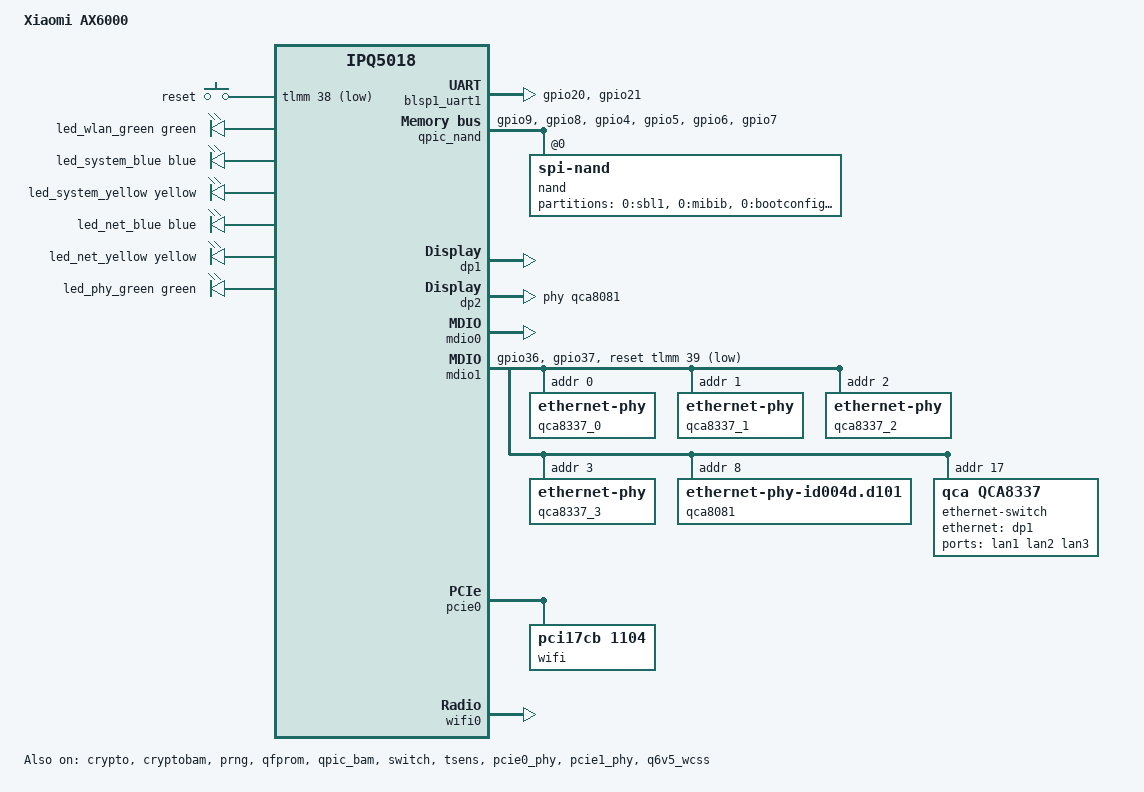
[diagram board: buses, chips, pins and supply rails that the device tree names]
/dts-v1/;

#include "ipq5018.dtsi"
#include "ipq5018-ess.dtsi"

#include <dt-bindings/gpio/gpio.h>
#include <dt-bindings/input/input.h>
#include <dt-bindings/leds/common.h>

/ {
	model = "Xiaomi AX6000";
	compatible = "xiaomi,ax6000", "qcom,ipq5018";

	aliases {
		label-mac-device = &dp1;
		led-boot = &led_system_blue;
		led-failsafe = &led_system_yellow;
		led-running = &led_system_blue;
		led-upgrade = &led_system_yellow;
		serial0 = &blsp1_uart1;
	};

	chosen {
		/* Xiaomi's U-boot sets bootargs to:
		 * ubi.mtd=rootfs_1 root=mtd:ubi_rootfs rootfstype=squashfs rootwait uart_en=1
		 * so we need to override and set ubi.mtd=rootfs
		 */
		bootargs-append = " ubi.mtd=rootfs root=/dev/ubiblock0_0 coherent_pool=2M";
		stdout-path = "serial0:115200n8";
	};

	keys {
		compatible = "gpio-keys";

		pinctrl-0 = <&button_pins>;
		pinctrl-names = "default";

		reset-button {
			label = "reset";
			gpios = <&tlmm 38 GPIO_ACTIVE_LOW>;
			linux,code = <KEY_RESTART>;
		};
	};

	leds {
		compatible = "gpio-leds";

		pinctrl-0 = <&leds_pins>;
		pinctrl-names = "default";

		led_wlan_green: wlan-green {
			color = <LED_COLOR_ID_GREEN>;
			function = LED_FUNCTION_WLAN;
			gpio = <&tlmm 23 GPIO_ACTIVE_HIGH>;
		};

		led_system_blue: system-blue {
			color = <LED_COLOR_ID_BLUE>;
			function = LED_FUNCTION_POWER;
			gpio = <&tlmm 24 GPIO_ACTIVE_HIGH>;
		};

		led_system_yellow: system-yellow {
			color = <LED_COLOR_ID_YELLOW>;
			function = LED_FUNCTION_POWER;
			gpio = <&tlmm 25 GPIO_ACTIVE_HIGH>;
		};

		led_net_blue: net-blue {
			color = <LED_COLOR_ID_BLUE>;
			function = LED_FUNCTION_WAN_ONLINE;
			gpio = <&tlmm 26 GPIO_ACTIVE_HIGH>;
		};

		led_net_yellow: net-yellow {
			color = <LED_COLOR_ID_YELLOW>;
			function = LED_FUNCTION_WAN;
			gpio = <&tlmm 27 GPIO_ACTIVE_HIGH>;
		};

		led_phy_green: phy-green {
			color = <LED_COLOR_ID_GREEN>;
			function = LED_FUNCTION_LAN;
			gpio = <&tlmm 28 GPIO_ACTIVE_HIGH>;
		};
	};

	reserved-memory {
		q6_mem_regions: q6_mem_regions@4b000000 {
			no-map;
			reg = <0x0 0x4b000000 0x0 0x3000000>;
		};
	};
};

&sleep_clk {
	clock-frequency = <32000>;
};

&xo_board_clk {
	clock-frequency = <24000000>;
};

&blsp1_uart1 {
	status = "okay";

	pinctrl-0 = <&serial_0_pins>;
	pinctrl-names = "default";
};

&crypto {
	status = "okay";
};

&cryptobam {
	status = "okay";
};

&prng {
	status = "okay";
};

&qfprom {
	status = "okay";
};

&qpic_bam {
	status = "okay";
};

&qpic_nand {
	pinctrl-0 = <&qpic_pins>;
	pinctrl-names = "default";
	status = "okay";

	nand@0 {
		compatible = "spi-nand";
		reg = <0>;
		#address-cells = <1>;
		#size-cells = <1>;

		nand-ecc-engine = <&qpic_nand>;
		nand-bus-width = <8>;

		partitions {
			compatible = "fixed-partitions";
			#address-cells = <1>;
			#size-cells = <1>;

			partition@0 {
				label = "0:sbl1";
				reg = <0x00000000 0x80000>;
				read-only;
			};

			partition@80000 {
				label = "0:mibib";
				reg = <0x00080000 0x80000>;
				read-only;
			};

			partition@100000 {
				label = "0:bootconfig";
				reg = <0x00100000 0x40000>;
				read-only;
			};

			partition@140000 {
				label = "0:bootconfig1";
				reg = <0x00140000 0x40000>;
				read-only;
			};

			partition@180000 {
				label = "0:qsee";
				reg = <0x00180000 0x100000>;
				read-only;
			};

			partition@280000 {
				label = "0:qsee_1";
				reg = <0x00280000 0x100000>;
				read-only;
			};

			partition@380000 {
				label = "0:devcfg";
				reg = <0x00380000 0x40000>;
				read-only;
			};

			partition@3c0000 {
				label = "0:devcfg_1";
				reg = <0x003c0000 0x40000>;
				read-only;
			};

			partition@400000 {
				label = "0:cdt";
				reg = <0x00400000 0x40000>;
				read-only;
			};

			partition@440000 {
				label = "0:cdt_1`";
				reg = <0x00440000 0x40000>;
				read-only;
			};

			partition@480000 {
				label = "0:appsblenv";
				reg = <0x00480000 0x80000>;
			};

			partition@500000 {
				label = "0:appsbl";
				reg = <0x00500000 0x140000>;
				read-only;
			};

			partition@640000 {
				label = "0:appsbl_1";
				reg = <0x00640000 0x140000>;
				read-only;
			};

			partition@780000 {
				label = "0:art";
				reg = <0x00780000 0x100000>;
				read-only;

				nvmem-layout {
					compatible = "fixed-layout";
					#address-cells = <1>;
					#size-cells = <1>;

					mac_addr_dp1: macaddr@0 {
						reg = <0x0 0x6>;
					};

					mac_addr_dp2: macaddr@6 {
						reg = <0x6 0x6>;
					};

					caldata_qca9889: caldata@4d000 {
						reg = <0x4d000 0x844>;
					};
				};
			};

			partition@880000 {
				label = "0:training";
				reg = <0x00880000 0x80000>;
				read-only;
			};

			partition@900000 {
				label = "bdata";
				reg = <0x00900000 0x80000>;
			};

			partition@980000 {
				label = "crash";
				reg = <0x00980000 0x80000>;
			};

			partition@a00000 {
				label = "crash_syslog";
				reg = <0x00a00000 0x80000>;
			};

			partition@a80000 {
				label = "ubi_kernel";
				reg = <0x00a80000 0x2400000>;
			};

			partition@2e80000 {
				label = "rootfs";
				reg = <0x02e80000 0x5180000>;
			};
		};
	};
};

/*
* =================================================================
*     _______________________             _______________________
*    |        IPQ5018        |           |        QCA8337        |
*    | +------+   +--------+ |           | +--------+   +------+ |
*    | | MAC0 |---| GE Phy |-+--- MDI ---+ | Phy3   |---| MAC4 | |
*    | +------+   +--------+ |           | +--------+   +------+ |
*    |                       |           |_______________________|
*    |                       |            _______________________
*    |                       |           |        QCA8081        |
*    | +------+   +--------+ |           | +-------------------+ |
*    | | MAC1 |---| Uniphy |-+-- SGMII+--+ |        Phy        | |
*    | +------+   +--------+ |           | +-------------------+ |
*    |_______________________|           |_______________________|
*
* =================================================================
*/

&switch {
	status = "okay";

	switch_mac_mode = <MAC_MODE_SGMII_CHANNEL0>;

	qcom,port_phyinfo {
		// MAC0 -> GE Phy --- MDI --- QCA8337 Switch
		port@0 {
			port_id = <1>;
			mdiobus = <&mdio0>;
			phy_address = <7>;
			phy_dac = <0x10 0x10>;
		};

		// MAC1 -> Uniphy --- SGMII --- QCA8081
		port@1 {
			port_id = <2>;
			mdiobus = <&mdio1>;
			phy_address = <8>;
			port_mac_sel = "QGMAC_PORT";
		};
	};
};

// MAC0 -> GE Phy
&dp1 {
	status = "okay";

	nvmem-cells = <&mac_addr_dp1 0>;
	nvmem-cell-names = "mac-address";
};

// MAC1 ---SGMII---> QCA8081
&dp2 {
	status = "okay";

	label = "wan";
	phy-handle = <&qca8081>;
	nvmem-cells = <&mac_addr_dp2 0>;
	nvmem-cell-names = "mac-address";
};

&mdio0 {
	status = "okay";
};

// IPQ5018 GE Phy -> QCA8337 PHY0
&ge_phy {
	qcom,dac-preset-short-cable;
};

&mdio1 {
	status = "okay";

	pinctrl-0 = <&mdio1_pins>;
	pinctrl-names = "default";
	reset-gpios = <&tlmm 39 GPIO_ACTIVE_LOW>;

	// QCA8337 Phy0 -> LAN1
	qca8337_0: ethernet-phy@0 {
		reg = <0>;
	};

	// QCA8337 Phy1 -> LAN2
	qca8337_1: ethernet-phy@1 {
		reg = <1>;
	};

	// QCA8337 Phy2 -> LAN3
	qca8337_2: ethernet-phy@2 {
		reg = <2>;
	};

	// QCA8337 Phy3 -> IPQ5018 GE Phy
	qca8337_3: ethernet-phy@3 {
		reg = <3>;
	};

	// QCA8081 Phy -> WAN
	qca8081: ethernet-phy@8 {
		compatible = "ethernet-phy-id004d.d101";
		reg = <8>;

		leds {
			#address-cells = <1>;
			#size-cells = <0>;

			led@0 {
				reg = <0>;
				color = <LED_COLOR_ID_GREEN>;
				function = LED_FUNCTION_WAN;
				default-state = "keep";
			};
		};
	};

	// QCA8337 switch
	ethernet-switch@11 {
		compatible = "qca,qca8337";
		reg = <17>;

		ports {
			port@1 {
				reg = <1>;
				label = "lan1";
				phy-handle = <&qca8337_0>;

				leds {
					#address-cells = <1>;
					#size-cells = <0>;

					led@0 {
						reg = <0>;
						color = <LED_COLOR_ID_GREEN>;
						function = LED_FUNCTION_LAN;
						default-state = "keep";
					};
				};
			};

			port@2 {
				reg = <2>;
				label = "lan2";
				phy-handle = <&qca8337_1>;

				leds {
					#address-cells = <1>;
					#size-cells = <0>;

					led@0 {
						reg = <0>;
						color = <LED_COLOR_ID_GREEN>;
						function = LED_FUNCTION_LAN;
						default-state = "keep";
					};
				};
			};

			port@3 {
				reg = <3>;
				label = "lan3";
				phy-handle = <&qca8337_2>;

				leds {
					#address-cells = <1>;
					#size-cells = <0>;

					led@0 {
						reg = <0>;
						color = <LED_COLOR_ID_GREEN>;
						function = LED_FUNCTION_LAN;
						default-state = "keep";
					};
				};
			};

			port@4 {
				reg = <4>;
				phy-handle = <&qca8337_3>;
				phy-mode = "gmii";
				ethernet = <&dp1>;
			};
		};
	};
};

&tlmm {
	button_pins: button-state {
		pins = "gpio38";
		function = "gpio";
		drive-strength = <8>;
		bias-pull-up;
	};

	leds_pins: leds-state {
		pins = "gpio23", "gpio24", "gpio25",
		       "gpio26", "gpio27", "gpio28";
		function = "gpio";
		drive-strength = <8>;
		bias-pull-down;
	};

	mdio1_pins: mdio-state {
		mdc-pins {
			pins = "gpio36";
			function = "mdc";
			drive-strength = <8>;
			bias-pull-up;
		};

		mdio-pins {
			pins = "gpio37";
			function = "mdio";
			drive-strength = <8>;
			bias-pull-up;
		};
	};

	qpic_pins: qpic-state {
		clock-pins {
			pins = "gpio9";
			function = "qspi_clk";
			drive-strength = <8>;
			bias-disable;
		};

		cs-pins {
			pins = "gpio8";
			function = "qspi_cs";
			drive-strength = <8>;
			bias-disable;
		};

		data-pins {
			pins = "gpio4", "gpio5", "gpio6", "gpio7";
			function = "qspi_data";
			drive-strength = <8>;
			bias-disable;
		};
	};

	serial_0_pins: uart0-state {
		pins = "gpio20", "gpio21";
		function = "blsp0_uart0";
		bias-disable;
	};
};

&tsens {
	status = "okay";
};

&pcie0_phy {
	status = "okay";
};

&pcie0 {
	status = "okay";

	perst-gpios = <&tlmm 15 GPIO_ACTIVE_LOW>;

	pcie@0 {
		wifi@0,0 {
			status = "okay";

			/* QCN9074: ath11k lacks DT compatible for PCI cards */
			compatible = "pci17cb,1104";
			reg = <0x00010000 0 0 0 0>;

			qcom,ath11k-calibration-variant = "Xiaomi-AX6000";
		};
	};
};

&pcie1_phy {
	status = "okay";
};

&pcie1 {
	/*
	 * although the pcie1 phy probes successfully, the controller is unable
	 * to bring it up. So let's disable it until a solution is found.
	 */
	status = "disbled";

	perst-gpios = <&tlmm 18 GPIO_ACTIVE_LOW>;

	pcie@0 {
		wifi@0,0 {
			status = "okay";

			compatible = "qcom,ath10k";
			reg = <0x00010000 0 0 0 0>;

			qcom,ath10k-calibration-variant = "Xiaomi-AX6000";
			nvmem-cell-names = "calibration";
			nvmem-cells = <&caldata_qca9889>;
		};
	};
};

&q6v5_wcss {
	status = "okay";

	memory-region = <&q6_mem_regions>;
	firmware-name = "ath11k/IPQ5018/hw1.0/q6_fw.mdt",
			"ath11k/IPQ5018/hw1.0/m3_fw.mdt";

	// IPQ5018
	q6_wcss_pd1: pd-1 {
		firmware-name = "ath11k/IPQ5018/hw1.0/q6_fw.mdt";

		resets =
			<&gcc GCC_WCSSAON_RESET>,
			<&gcc GCC_WCSS_BCR>,
			<&gcc GCC_CE_BCR>;
		reset-names =
			"wcss_aon_reset",
			"wcss_reset",
			"ce_reset";

		clocks =
			<&gcc GCC_WCSS_AHB_S_CLK>,
			<&gcc GCC_WCSS_ACMT_CLK>,
			<&gcc GCC_WCSS_AXI_M_CLK>;
		clock-names =
			"gcc_wcss_ahb_s_clk",
			"gcc_wcss_acmt_clk",
			"gcc_wcss_axi_m_clk";

		interrupts-extended =
			<&wcss_smp2p_in 8 0>,
			<&wcss_smp2p_in 9 0>,
			<&wcss_smp2p_in 12 0>,
			<&wcss_smp2p_in 11 0>;
		interrupt-names =
			"fatal",
			"ready",
			"spawn-ack",
			"stop-ack";

		qcom,smem-states =
			<&wcss_smp2p_out 8>,
			<&wcss_smp2p_out 9>,
			<&wcss_smp2p_out 10>;
		qcom,smem-state-names =
			"shutdown",
			"stop",
			"spawn";
	};
};

&wifi0 {
	status = "okay";

	qcom,rproc = <&q6_wcss_pd1>;
	qcom,ath11k-calibration-variant = "Xiaomi-AX6000";
	qcom,ath11k-fw-memory-mode = <1>;
	qcom,bdf-addr = <0x4c400000>;
};
